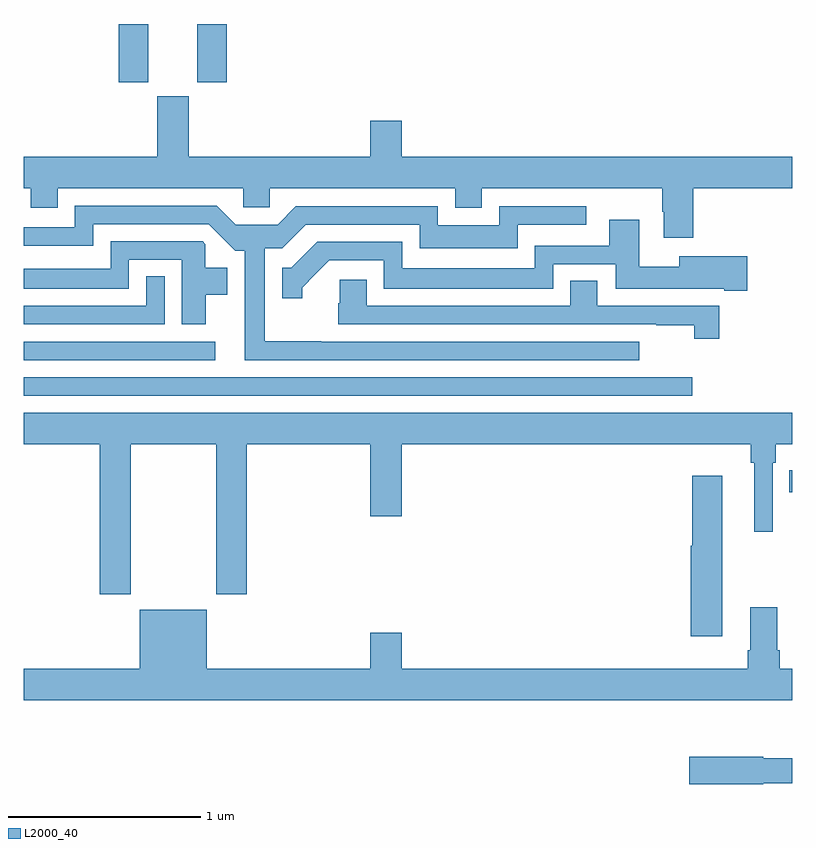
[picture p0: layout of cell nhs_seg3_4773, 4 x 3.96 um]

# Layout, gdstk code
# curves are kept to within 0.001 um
import gdstk
lib = gdstk.Library(unit=1e-6, precision=1e-09)
def R(c, l, rs):  # rectangles x0, y0, x1, y1
    for r in rs: c.add(gdstk.rectangle(r[:2], r[2:], *l))
def P(c, l, *ps):  # polygons
    for p in ps: c.add(gdstk.Polygon(p, *l))
L2000_40 = (2000, 40)

nhs_seg3_4773 = lib.new_cell('nhs_seg3_4773')
R(nhs_seg3_4773, L2000_40, [(370.984,737.962,371,738.078), (367,738.465,370.48,738.561), (367,738.651,367.996,738.747), (367.496,740.097,367.648,740.4), (367.904,740.097,368.057,740.4)])
P(nhs_seg3_4773, L2000_40, [(370.484,739.544),(371,739.544),(371,739.708),(368.968,739.708),(368.968,739.897),(368.804,739.897),(368.804,739.708),(367.858,739.708),(367.858,740.025),(367.694,740.025),(367.694,739.708),(367,739.708),(367,739.544),(367.037,739.544),(367.037,739.445),(367.177,739.445),(367.177,739.544),(368.142,739.544),(368.142,739.446),(368.28,739.446),(368.28,739.544),(369.245,739.544),(369.245,739.445),(369.385,739.445),(369.385,739.544),(370.324,739.544),(370.324,739.424),(370.331,739.424),(370.331,739.287),(370.484,739.287)],
  [(370.204,738.747),(368.549,738.747),(368.549,738.75),(368.254,738.75),(368.254,739.233),(368.346,739.233),(368.469,739.356),(369.06,739.356),(369.06,739.232),(369.57,739.232),(369.57,739.356),(369.928,739.356),(369.928,739.452),(369.474,739.452),(369.474,739.354),(369.156,739.354),(369.156,739.452),(368.417,739.452),(368.321,739.356),(368.104,739.356),(368.005,739.455),(367.266,739.455),(367.266,739.341),(367,739.341),(367,739.245),(367.362,739.245),(367.362,739.359),(367.962,739.359),(368.102,739.22),(368.15,739.22),(368.15,738.651),(370.204,738.651)],
  [(368.449,739.028),(368.589,739.17),(368.874,739.17),(368.874,739.022),(369.756,739.022),(369.756,739.149),(370.082,739.149),(370.082,739.022),(370.646,739.022),(370.646,739.013),(370.765,739.013),(370.765,739.191),(370.412,739.191),(370.412,739.137),(370.204,739.137),(370.204,739.381),(370.046,739.381),(370.046,739.245),(369.66,739.245),(369.66,739.129),(368.97,739.129),(368.97,739.266),(368.528,739.266),(368.393,739.131),(368.345,739.131),(368.345,738.972),(368.449,738.972)],
  [(367.948,738.992),(368.059,738.992),(368.059,739.132),(367.946,739.132),(367.946,739.255),(367.932,739.269),(367.452,739.269),(367.452,739.126),(367,739.126),(367,739.022),(367.548,739.022),(367.548,739.173),(367.823,739.173),(367.823,738.837),(367.948,738.837)],
  [(367.734,739.088),(367.638,739.088),(367.638,738.933),(367,738.933),(367,738.837),(367.734,738.837)],
  [(370.621,738.933),(369.985,738.933),(369.985,739.064),(369.845,739.064),(369.845,738.933),(368.785,738.933),(368.785,739.069),(368.646,739.069),(368.646,738.948),(368.638,738.948),(368.638,738.837),(370.291,738.837),(370.291,738.832),(370.49,738.832),(370.49,738.762),(370.621,738.762)],
  [(367.557,738.212),(368.002,738.212),(368.002,737.433),(368.162,737.433),(368.162,738.212),(368.804,738.212),(368.804,737.838),(368.968,737.838),(368.968,738.212),(370.783,738.212),(370.783,738.116),(370.802,738.116),(370.802,737.757),(370.899,737.757),(370.899,738.116),(370.913,738.116),(370.913,738.212),(371,738.212),(371,738.376),(367,738.376),(367,738.212),(367.397,738.212),(367.397,737.433),(367.557,737.433)],
  [(370.636,738.049),(370.478,738.049),(370.478,737.685),(370.472,737.685),(370.472,737.214),(370.636,737.214)],
  [(371,737.044),(370.934,737.044),(370.934,737.14),(370.921,737.14),(370.921,737.365),(370.781,737.365),(370.781,737.14),(370.769,737.14),(370.769,737.044),(368.968,737.044),(368.968,737.233),(368.804,737.233),(368.804,737.044),(367.954,737.044),(367.954,737.353),(367.604,737.353),(367.604,737.044),(367,737.044),(367,736.88),(371,736.88)],
  [(370.848,736.45),(371,736.45),(371,736.579),(370.848,736.579),(370.848,736.587),(370.464,736.587),(370.464,736.445),(370.848,736.445)])

lib.write_gds('nhs_seg3_4773.gds')
